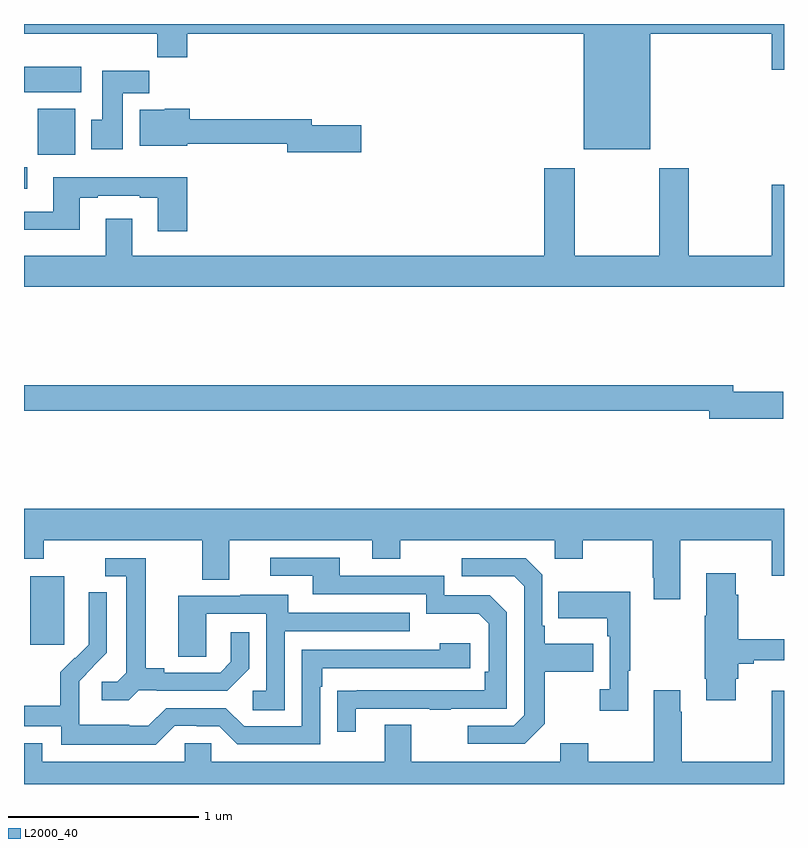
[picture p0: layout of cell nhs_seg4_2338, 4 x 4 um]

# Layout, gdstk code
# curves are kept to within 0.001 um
import gdstk
lib = gdstk.Library(unit=1e-6, precision=1e-09)
def R(c, l, rs):  # rectangles x0, y0, x1, y1
    for r in rs: c.add(gdstk.rectangle(r[:2], r[2:], *l))
def P(c, l, *ps):  # polygons
    for p in ps: c.add(gdstk.Polygon(p, *l))
L2000_40 = (2000, 40)

nhs_seg4_2338 = lib.new_cell('nhs_seg4_2338')
R(nhs_seg4_2338, L2000_40, [(233.033,765.633,233.212,765.994), (233,768.033,233.017,768.146), (233.072,768.212,233.269,768.454), (233,768.542,233.302,768.676)])
P(nhs_seg4_2338, L2000_40, [(233,768.848),(233.701,768.848),(233.701,768.724),(233.858,768.724),(233.858,768.848),(235.946,768.848),(235.946,768.242),(236.296,768.242),(236.296,768.848),(236.936,768.848),(236.936,768.66),(237,768.66),(237,768.9),(233,768.9)],
  [(233.521,768.536),(233.66,768.536),(233.66,768.655),(233.411,768.655),(233.411,768.396),(233.354,768.396),(233.354,768.24),(233.521,768.24)],
  [(234.775,768.366),(234.514,768.366),(234.514,768.4),(233.873,768.4),(233.873,768.454),(233.742,768.454),(233.742,768.448),(233.609,768.448),(233.609,768.26),(233.86,768.26),(233.86,768.271),(234.386,768.271),(234.386,768.224),(234.775,768.224)],
  [(237,768.055),(236.936,768.055),(236.936,767.68),(236.499,767.68),(236.499,768.142),(236.344,768.142),(236.344,767.68),(235.899,767.68),(235.899,768.142),(235.739,768.142),(235.739,767.68),(233.569,767.68),(233.569,767.875),(233.429,767.875),(233.429,767.68),(233,767.68),(233,767.516),(237,767.516)],
  [(233.858,768.094),(233.153,768.094),(233.153,767.913),(233,767.913),(233,767.816),(233.293,767.816),(233.293,767.985),(233.389,767.985),(233.389,767.997),(233.609,767.997),(233.609,767.985),(233.705,767.985),(233.705,767.808),(233.858,767.808)],
  [(236.995,766.964),(236.734,766.964),(236.734,767),(233,767),(233,766.864),(236.606,766.864),(236.606,766.822),(236.995,766.822)],
  [(236.455,766.184),(236.936,766.184),(236.936,765.996),(237,765.996),(237,766.348),(233,766.348),(233,766.085),(233.103,766.085),(233.103,766.184),(233.939,766.184),(233.939,765.976),(234.079,765.976),(234.079,766.184),(234.833,766.184),(234.833,766.085),(234.981,766.085),(234.981,766.184),(235.794,766.184),(235.794,766.085),(235.941,766.085),(235.941,766.184),(236.308,766.184),(236.308,765.985),(236.315,765.985),(236.315,765.873),(236.455,765.873)],
  [(234.745,765.297),(235.135,765.297),(235.135,765.292),(235.247,765.292),(235.247,765.297),(235.542,765.297),(235.542,765.804),(235.452,765.894),(235.212,765.894),(235.212,765.996),(234.661,765.996),(234.661,766.092),(234.297,766.092),(234.297,765.996),(234.521,765.996),(234.521,765.9),(235.116,765.9),(235.116,765.797),(235.393,765.797),(235.446,765.744),(235.446,765.49),(235.426,765.49),(235.426,765.393),(234.649,765.392),(234.649,765.174),(234.745,765.174)],
  [(233.604,765.393),(233.698,765.393),(233.698,765.39),(234.07,765.39),(234.186,765.506),(234.186,765.7),(234.089,765.7),(234.089,765.543),(234.032,765.486),(233.737,765.486),(233.737,765.509),(233.641,765.509),(233.641,766.089),(233.427,766.089),(233.427,765.993),(233.537,765.993),(233.537,765.485),(233.49,765.438),(233.409,765.438),(233.409,765.341),(233.552,765.341)],
  [(235.741,765.217),(235.741,765.49),(235.997,765.49),(235.997,765.637),(235.741,765.637),(235.741,765.733),(235.728,765.733),(235.728,766.002),(235.641,766.089),(235.305,766.089),(235.305,765.993),(235.581,765.993),(235.632,765.942),(235.632,765.261),(235.578,765.207),(235.335,765.207),(235.335,765.111),(235.635,765.111)],
  [(236.746,765.455),(236.759,765.455),(236.759,765.532),(236.842,765.532),(236.842,765.551),(237,765.551),(237,765.661),(236.759,765.661),(236.759,765.896),(236.746,765.896),(236.746,766.009),(236.591,766.009),(236.591,765.785),(236.584,765.785),(236.584,765.454),(236.591,765.454),(236.591,765.342),(236.746,765.342)],
  [(236.179,765.497),(236.191,765.497),(236.191,765.913),(235.813,765.913),(235.813,765.773),(236.07,765.773),(236.07,765.677),(236.082,765.677),(236.082,765.398),(236.031,765.398),(236.031,765.285),(236.179,765.285)],
  [(233.793,765.207),(233.909,765.207),(233.909,765.204),(234.027,765.204),(234.123,765.108),(234.558,765.108),(234.558,765.413),(234.571,765.413),(234.571,765.51),(235.348,765.51),(235.348,765.64),(235.187,765.64),(235.187,765.606),(234.462,765.606),(234.462,765.204),(234.159,765.204),(234.063,765.3),(233.748,765.3),(233.655,765.207),(233.555,765.207),(233.555,765.211),(233.292,765.211),(233.292,765.345),(233.29,765.345),(233.29,765.442),(233.436,765.59),(233.436,765.908),(233.34,765.908),(233.34,765.754),(233.342,765.754),(233.342,765.632),(233.271,765.561),(233.268,765.564),(233.191,765.487),(233.191,765.313),(233,765.313),(233,765.204),(233.196,765.204),(233.196,765.107),(233.693,765.107)],
  [(234.372,765.705),(235.031,765.705),(235.031,765.801),(234.391,765.801),(234.391,765.895),(234.137,765.895),(234.137,765.891),(233.813,765.891),(233.813,765.571),(233.958,765.571),(233.958,765.795),(234.276,765.795),(234.276,765.39),(234.204,765.39),(234.204,765.289),(234.372,765.289)],
  [(237,765.391),(236.936,765.391),(236.936,765.016),(236.463,765.016),(236.463,765.281),(236.455,765.281),(236.455,765.394),(236.315,765.394),(236.315,765.016),(235.971,765.016),(235.971,765.115),(235.823,765.115),(235.823,765.016),(235.039,765.016),(235.039,765.211),(234.899,765.211),(234.899,765.016),(233.985,765.016),(233.985,765.114),(233.847,765.114),(233.847,765.016),(233.095,765.016),(233.095,765.115),(233,765.115),(233,764.9),(237,764.9)])

lib.write_gds('nhs_seg4_2338.gds')
